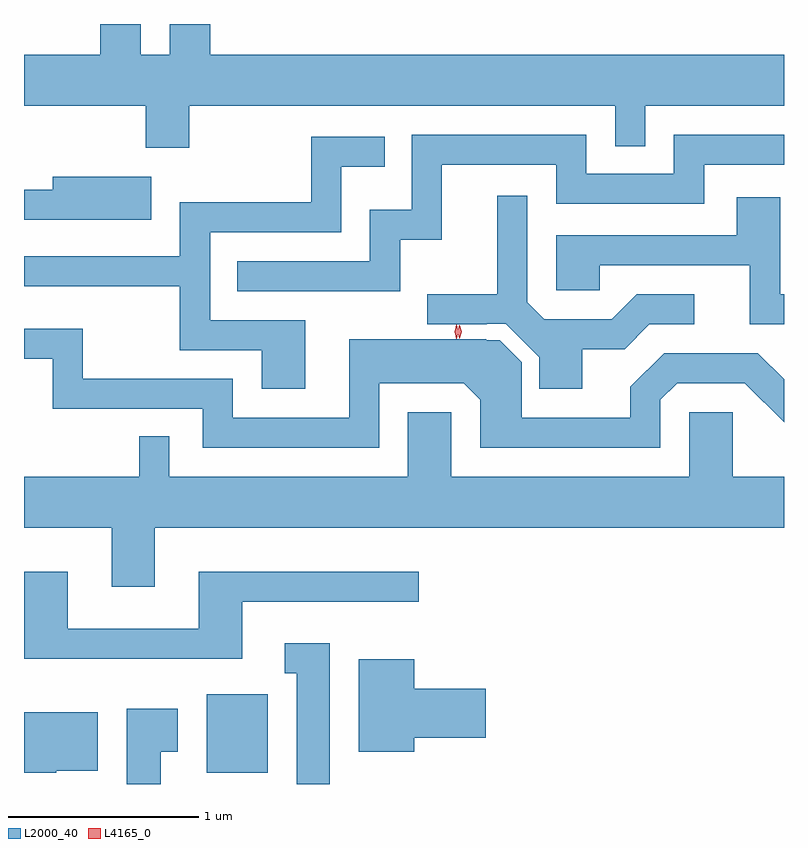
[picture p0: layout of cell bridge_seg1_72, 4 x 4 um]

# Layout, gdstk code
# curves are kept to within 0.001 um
import gdstk
lib = gdstk.Library(unit=1e-6, precision=1e-09)
def R(c, l, rs):  # rectangles x0, y0, x1, y1
    for r in rs: c.add(gdstk.rectangle(r[:2], r[2:], *l))
def P(c, l, *ps):  # polygons
    for p in ps: c.add(gdstk.Polygon(p, *l))
L2000_40 = (2000, 40)
L4165_0 = (4165, 0)

bridge_seg1_72 = lib.new_cell('bridge_seg1_72')
R(bridge_seg1_72, L2000_40, [(1879.061,971.546,1879.384,971.959)])
P(bridge_seg1_72, L2000_40, [(1878.969,975.056),(1881.211,975.056),(1881.211,974.843),(1881.369,974.843),(1881.369,975.056),(1882.1,975.056),(1882.1,975.324),(1879.079,975.324),(1879.079,975.487),(1878.866,975.487),(1878.866,975.324),(1878.714,975.324),(1878.714,975.487),(1878.501,975.487),(1878.501,975.324),(1878.1,975.324),(1878.1,975.056),(1878.741,975.056),(1878.741,974.836),(1878.969,974.836)],
  [(1880.079,974.351),(1880.299,974.351),(1880.299,974.746),(1880.901,974.746),(1880.901,974.541),(1881.679,974.541),(1881.679,974.746),(1882.1,974.746),(1882.1,974.904),(1881.521,974.904),(1881.521,974.699),(1881.059,974.699),(1881.059,974.904),(1880.141,974.904),(1880.141,974.509),(1879.921,974.509),(1879.921,974.239),(1879.223,974.239),(1879.223,974.081),(1880.079,974.081)],
  [(1879.579,973.929),(1879.079,973.929),(1879.079,974.391),(1879.769,974.391),(1879.769,974.736),(1879.998,974.736),(1879.998,974.894),(1879.611,974.894),(1879.611,974.549),(1878.921,974.549),(1878.921,974.264),(1878.1,974.264),(1878.1,974.106),(1878.921,974.106),(1878.921,973.771),(1879.351,973.771),(1879.351,973.566),(1879.579,973.566)],
  [(1878.769,974.684),(1878.251,974.684),(1878.251,974.614),(1878.1,974.614),(1878.1,974.456),(1878.769,974.456)],
  [(1881.039,973.776),(1881.262,973.776),(1881.392,973.906),(1881.628,973.906),(1881.628,974.064),(1881.324,974.064),(1881.194,973.934),(1880.837,973.934),(1880.749,974.022),(1880.749,974.583),(1880.591,974.583),(1880.591,974.064),(1880.223,974.064),(1880.223,973.908),(1880.535,973.908),(1880.535,973.91),(1880.636,973.91),(1880.811,973.734),(1880.811,973.566),(1881.039,973.566)],
  [(1882.1,974.064),(1882.079,974.064),(1882.079,974.574),(1881.851,974.574),(1881.851,974.374),(1880.901,974.374),(1880.901,974.086),(1881.129,974.086),(1881.129,974.216),(1881.921,974.216),(1881.921,973.906),(1882.1,973.906)],
  [(1879.969,973.596),(1880.414,973.596),(1880.501,973.509),(1880.501,973.256),(1881.449,973.256),(1881.449,973.509),(1881.537,973.596),(1881.894,973.596),(1882.1,973.39),(1882.1,973.616),(1881.962,973.754),(1881.469,973.754),(1881.291,973.577),(1881.291,973.414),(1880.72,973.414),(1880.719,973.706),(1880.603,973.822),(1880.532,973.822),(1880.532,973.827),(1879.811,973.828),(1879.811,973.414),(1879.199,973.414),(1879.199,973.619),(1878.409,973.619),(1878.409,973.884),(1878.1,973.884),(1878.1,973.726),(1878.251,973.726),(1878.251,973.461),(1879.041,973.461),(1879.041,973.256),(1879.969,973.256)],
  [(1878.789,972.836),(1882.1,972.836),(1882.1,973.104),(1881.829,973.104),(1881.829,973.444),(1881.601,973.444),(1881.601,973.104),(1880.349,973.104),(1880.349,973.444),(1880.121,973.444),(1880.121,973.104),(1878.864,973.104),(1878.864,973.318),(1878.706,973.318),(1878.706,973.104),(1878.1,973.104),(1878.1,972.836),(1878.561,972.836),(1878.561,972.526),(1878.789,972.526)],
  [(1879.249,972.446),(1880.178,972.446),(1880.178,972.604),(1879.021,972.604),(1879.021,972.304),(1878.329,972.304),(1878.329,972.604),(1878.101,972.604),(1878.101,972.146),(1879.249,972.146)],
  [(1879.709,972.229),(1879.473,972.229),(1879.473,972.071),(1879.536,972.071),(1879.536,971.487),(1879.709,971.487)],
  [(1880.154,971.731),(1880.529,971.731),(1880.529,971.989),(1880.154,971.989),(1880.154,972.144),(1879.861,972.144),(1879.861,971.656),(1880.154,971.656)],
  [(1878.819,971.656),(1878.909,971.656),(1878.909,971.884),(1878.641,971.884),(1878.641,971.487),(1878.819,971.487)],
  [(1878.27,971.556),(1878.489,971.556),(1878.489,971.864),(1878.1,971.864),(1878.1,971.546),(1878.27,971.546)])
P(bridge_seg1_72, L4165_0, [(1880.393,973.833),(1880.392,973.834),(1880.383,973.867),(1880.392,973.901),(1880.393,973.902),(1880.393,973.901),(1880.403,973.867),(1880.393,973.834)],
  [(1880.376,973.83),(1880.376,973.831),(1880.366,973.867),(1880.376,973.903),(1880.376,973.904),(1880.377,973.903),(1880.386,973.867),(1880.377,973.831)])

lib.write_gds('bridge_seg1_72.gds')
